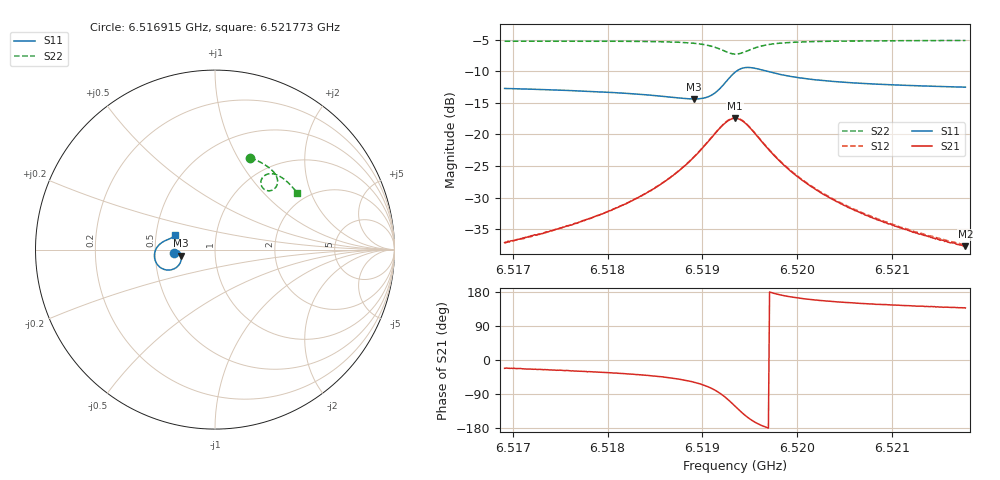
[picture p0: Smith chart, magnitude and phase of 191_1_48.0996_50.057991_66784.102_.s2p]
#  HZ  S  RI  R  50.00
! Rohde & Schwarz Vector Network Analyzer
! Rohde-Schwarz,ZNB20-2Port,1311601062101988,3.16
! Created: UTC 12/23/2023, 3:53:45 AM
! freq[Hz]  re:S11  im:S11  re:S21  im:S21  re:S12  im:S12  re:S22  im:S22
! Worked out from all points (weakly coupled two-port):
!   401 points, 6.516915 GHz to 6.521773 GHz, reference 50 ohm
!   highest |S21| = -17.44 dB at 6.519344 GHz (marker M1); lowest = -37.7 dB at 6.521773 GHz (marker M2)
!   lowest |S11| = -14.4 dB at 6.518907 GHz (marker M3), VSWR 1.47, Z = 34.1 - j2.37 ohm
!   |S11| at or under -10 dB: start of sweep to 6.519356 GHz; 6.519686 GHz to end of sweep
!   |S22| runs from -7.3 to -5.1 dB; largest |S21 - S12| = 0.0042
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6.516915e9  -0.2309 -0.0187  0.0129 -0.00519  0.013 -0.00453  0.1971 0.5114
6.5173036e9  -0.2268 -0.0128  0.0148 -0.00691  0.015 -0.00652  0.2261 0.4999
6.5177286e9  -0.221 -0.00763  0.0177 -0.0102  0.0182 -0.00967  0.2574 0.4844
6.5181779e9  -0.2121 -0.00534  0.0226 -0.0164  0.0231 -0.0157  0.2911 0.4636
6.5185422e9  -0.2017 -0.00956  0.0286 -0.0272  0.0294 -0.0264  0.3192 0.4404
6.5187123e9  -0.1954 -0.0164  0.032 -0.0367  0.0333 -0.0359  0.3325 0.4252
6.5189066e9  -0.1882 -0.0334  0.0347 -0.0558  0.0364 -0.0551  0.3456 0.4001
6.519028e9  -0.1877 -0.0539  0.0314 -0.0759  0.034 -0.0754  0.3489 0.3772
6.519113e9  -0.1944 -0.075  0.022 -0.095  0.0251 -0.095  0.3445 0.3572
6.5192466e9  -0.236 -0.1102  -0.0204 -0.1231  -0.0168 -0.1245  0.3129 0.3293
6.5192952e9  -0.2631 -0.114  -0.0452 -0.1236  -0.042 -0.126  0.2934 0.3281
6.5193437e9  -0.2921 -0.1067  -0.0706 -0.1143  -0.0678 -0.1173  0.2742 0.3359
6.5193923e9  -0.3166 -0.0888  -0.0905 -0.0959  -0.0883 -0.0993  0.2608 0.3513
6.519453e9  -0.3341 -0.0582  -0.1026 -0.0675  -0.1013 -0.071  0.2553 0.3748
6.5195623e9  -0.3335 -0.00913  -0.0968 -0.0255  -0.0969 -0.0285  0.2694 0.4068
6.5196716e9  -0.3176 0.0198  -0.0799 -0.0036  -0.0807 -0.00584  0.2921 0.4205
6.5199024e9  -0.2875 0.0446  -0.0523 0.0112  -0.0531 0.00991  0.3307 0.4207
6.5201574e9  -0.2677 0.0541  -0.0357 0.0136  -0.0365 0.0128  0.3594 0.4092
6.5205096e9  -0.2515 0.0608  -0.0239 0.0128  -0.0247 0.0122  0.3883 0.3894
6.520971e9  -0.2387 0.0677  -0.0162 0.011  -0.0166 0.0107  0.4179 0.3624
6.5214325e9  -0.2294 0.0741  -0.0116 0.00959  -0.0122 0.00956  0.4433 0.3342
6.5217725e9  -0.2236 0.0788  -0.00956 0.00884  -0.01 0.0087  0.4596 0.3131
